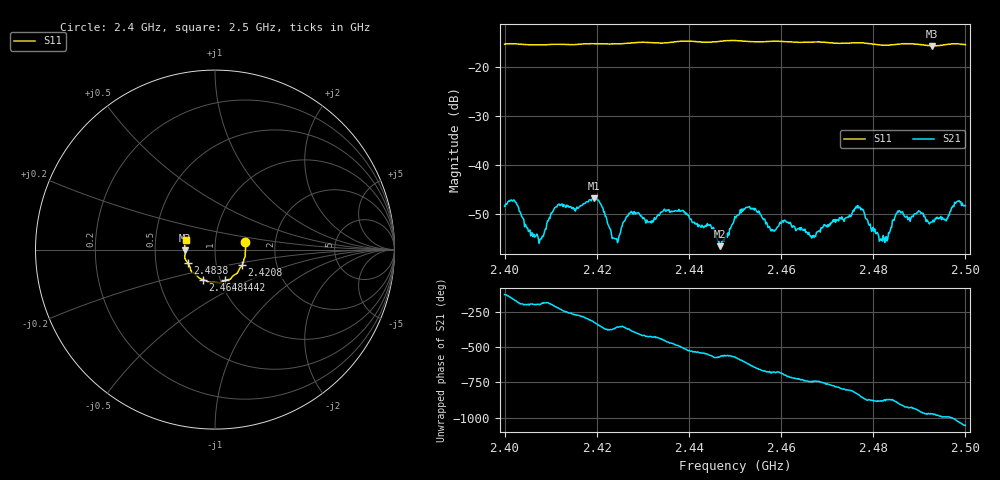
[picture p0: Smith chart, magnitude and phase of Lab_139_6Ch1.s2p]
# Hz S RI R 50
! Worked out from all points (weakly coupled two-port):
!   601 points, 2.4 GHz to 2.5 GHz, reference 50 ohm
!   highest |S21| = -46.75 dB at 2.4193 GHz (marker M1); lowest = -56.6 dB at 2.4467 GHz (marker M2)
!   lowest |S11| = -15.6 dB at 2.4928 GHz (marker M3), VSWR 1.40, Z = 35.8 - j0.358 ohm
!   |S11| at or under -10 dB: start of sweep to end of sweep
!   S12 and S22 are empty: the file has one direction only
!   S11 on the Smith chart (normalised r, x): 2.4 GHz: 1.40, +0.12; 2.4208 GHz: 1.33, -0.24; 2.4442 GHz: 1.05, -0.37; 2.4648 GHz: 0.83, -0.29; 2.4838 GHz: 0.73, -0.11; 2.5 GHz: 0.72, +0.08
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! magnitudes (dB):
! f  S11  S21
! 2.4 GHz  -15.2  -48.4
! 2.4023 GHz  -15.2  -47.5
! 2.4078 GHz  -15.4  -55.1
! 2.4113 GHz  -15.3  -48.5
! 2.4167 GHz  -15.3  -48.3
! 2.4193 GHz  -15.2  -46.7
! 2.4208 GHz  -15.2  -47.9
! 2.4242 GHz  -15.2  -55.1
! 2.4272 GHz  -15.0  -49.8
! 2.4333 GHz  -15.0  -50.1
! 2.4442 GHz  -14.9  -52.3
! 2.4467 GHz  -14.7  -56.6
! 2.45 GHz  -14.5  -50.5
! 2.4528 GHz  -14.7  -48.6
! 2.4648 GHz  -14.9  -53.2
! 2.4667 GHz  -14.8  -54.9
! 2.4767 GHz  -15.0  -48.3
! 2.4833 GHz  -15.5  -53.8
! 2.4838 GHz  -15.4  -52.8
! 2.4858 GHz  -15.2  -49.5
! 2.4928 GHz  -15.6  -51.6
! 2.5 GHz  -15.4  -48.3
